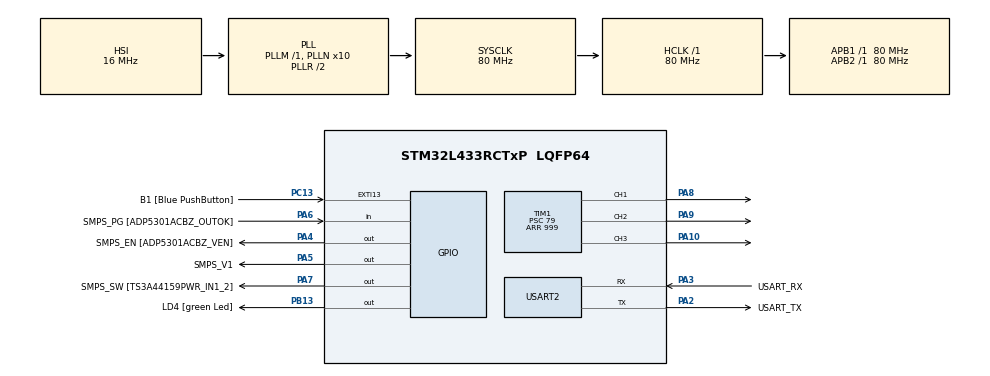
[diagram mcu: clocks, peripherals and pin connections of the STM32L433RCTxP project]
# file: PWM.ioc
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Mcu.Family=STM32L4
Mcu.Name=STM32L433RCTxP
Mcu.Package=LQFP64
NVIC.PriorityGroup=NVIC_PRIORITYGROUP_4
NVIC.TIM1_UP_TIM16_IRQn=true\:0\:0\:false\:false\:true\:true\:true\:true
PA10.Signal=S_TIM1_CH3
PA13\ (JTMS-SWDIO).GPIO_Label=TMS
PA13\ (JTMS-SWDIO).Mode=Serial_Wire
PA13\ (JTMS-SWDIO).Signal=SYS_JTMS-SWDIO
PA14\ (JTCK-SWCLK).GPIO_Label=TCK
PA14\ (JTCK-SWCLK).Mode=Serial_Wire
PA14\ (JTCK-SWCLK).Signal=SYS_JTCK-SWCLK
PA2.GPIO_Label=USART_TX
PA2.GPIO_Mode=GPIO_MODE_AF_PP
PA2.GPIO_PuPd=GPIO_NOPULL
PA2.GPIO_Speed=GPIO_SPEED_FREQ_VERY_HIGH
PA2.Mode=Asynchronous
PA2.Signal=USART2_TX
PA3.GPIO_Label=USART_RX
PA3.GPIO_Mode=GPIO_MODE_AF_PP
PA3.GPIO_PuPd=GPIO_NOPULL
PA3.GPIO_Speed=GPIO_SPEED_FREQ_VERY_HIGH
PA3.Mode=Asynchronous
PA3.Signal=USART2_RX
PA4.GPIO_Label=SMPS_EN [ADP5301ACBZ_VEN]
PA4.Signal=GPIO_Output
PA5.GPIO_Label=SMPS_V1
PA5.GPIO_ModeDefaultOutputPP=GPIO_MODE_OUTPUT_PP
PA5.GPIO_PuPd=GPIO_NOPULL
PA5.GPIO_Speed=GPIO_SPEED_FREQ_LOW
PA5.Signal=GPIO_Output
PA6.GPIO_Label=SMPS_PG [ADP5301ACBZ_OUTOK]
PA6.GPIO_PuPd=GPIO_PULLUP
PA6.Signal=GPIO_Input
PA7.GPIO_Label=SMPS_SW [TS3A44159PWR_IN1_2]
PA7.Signal=GPIO_Output
PA8.Signal=S_TIM1_CH1
PA9.Signal=S_TIM1_CH2
PB13.GPIO_Label=LD4 [green Led]
PB13.Signal=GPIO_Output
PB3\ (JTDO-TRACESWO).GPIO_Label=SWO
PB3\ (JTDO-TRACESWO).Signal=SYS_JTDO-SWO
PC13.GPIO_Label=B1 [Blue PushButton]
PC13.GPIO_ModeDefaultEXTI=GPIO_MODE_IT_FALLING
PC13.GPIO_PuPd=GPIO_NOPULL
PC13.Signal=GPXTI13
PC14-OSC32_IN\ (PC14).Mode=LSE-External-Oscillator
PC14-OSC32_IN\ (PC14).Signal=RCC_OSC32_IN
PC15-OSC32_OUT\ (PC15).Mode=LSE-External-Oscillator
PC15-OSC32_OUT\ (PC15).Signal=RCC_OSC32_OUT
PH0-OSC_IN\ (PH0).GPIO_Label=MCO
PH0-OSC_IN\ (PH0).Mode=HSE-External-Clock-Source
PH0-OSC_IN\ (PH0).Signal=RCC_OSC_IN
PH1-OSC_OUT\ (PH1).Signal=RCC_OSC_OUT
ProjectManager.HeapSize=0x200
ProjectManager.StackSize=0x400
ProjectManager.TargetToolchain=STM32CubeIDE
RCC.ADCFreq_Value=64000000
RCC.AHBFreq_Value=80000000
RCC.APB1Freq_Value=80000000
RCC.APB1TimFreq_Value=80000000
RCC.APB2Freq_Value=80000000
RCC.APB2TimFreq_Value=80000000
RCC.CortexFreq_Value=80000000
RCC.HCLKFreq_Value=80000000
RCC.HSE_VALUE=8000000
RCC.HSI48_VALUE=48000000
RCC.HSI_VALUE=16000000
RCC.MSI_VALUE=4000000
RCC.PLLN=10
RCC.PLLSourceVirtual=RCC_PLLSOURCE_HSI
RCC.PREFETCH_ENABLE=1
RCC.SYSCLKFreq_VALUE=80000000
RCC.SYSCLKSource=RCC_SYSCLKSOURCE_PLLCLK
RCC.USBFreq_Value=64000000
RCC.VCOOutputFreq_Value=160000000
SH.S_TIM1_CH1.0=TIM1_CH1,PWM Generation1 CH1
SH.S_TIM1_CH2.0=TIM1_CH2,PWM Generation2 CH2
SH.S_TIM1_CH3.0=TIM1_CH3,PWM Generation3 CH3
TIM1.Channel-PWM\ Generation1\ CH1=TIM_CHANNEL_1
TIM1.Channel-PWM\ Generation2\ CH2=TIM_CHANNEL_2
TIM1.Channel-PWM\ Generation3\ CH3=TIM_CHANNEL_3
TIM1.Period=999
TIM1.Prescaler=79
USART2.VirtualMode-Asynchronous=VM_ASYNC
VP_TIM1_VS_ClockSourceINT.Mode=Internal
board=NUCLEO-L433RC-P

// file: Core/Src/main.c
/* USER CODE BEGIN Header */
/**
 ******************************************************************************
 * @file           : main.c
 * @brief          : Main program body
 ******************************************************************************
 * @attention
 *
 * Copyright (c) 2026 STMicroelectronics.
 * All rights reserved.
 *
 * This software is licensed under terms that can be found in the LICENSE file
 * in the root directory of this software component.
 * If no LICENSE file comes with this software, it is provided AS-IS.
 *
 ******************************************************************************
 */
/* USER CODE END Header */
#include "main.h"

/* USER CODE BEGIN Includes */
#include <stdio.h>
#include <math.h>

/* USER CODE END Includes */

TIM_HandleTypeDef htim1;

UART_HandleTypeDef huart2;

/* USER CODE BEGIN PV */
volatile uint32_t isr_count = 0;
float rf;
float gf;
float bf;
float freq = 0.2f;
static float t = 0.0f;
const float offset = M_TWOPI / 3.0f;
const float half_arr = 500.0f;

/* USER CODE END PV */

void SystemClock_Config(void);
static void MX_GPIO_Init(void);
static void MX_TIM1_Init(void);
static void MX_USART2_UART_Init(void);

/* USER CODE BEGIN 0 */

void HAL_TIM_PeriodElapsedCallback(TIM_HandleTypeDef *htim) {
	if (htim->Instance == TIM1) {
		isr_count++;
	}
}

/* USER CODE END 0 */

int main(void) {

	/* MCU Configuration--------------------------------------------------------*/

	/* Reset of all peripherals, Initializes the Flash interface and the Systick. */
	HAL_Init();

	/* Configure the system clock */
	SystemClock_Config();

	/* Initialize all configured peripherals */
	MX_GPIO_Init();
	MX_TIM1_Init();
	MX_USART2_UART_Init();
	/* USER CODE BEGIN 2 */
	HAL_TIM_Base_Start_IT(&htim1);
	//grön
	HAL_TIM_PWM_Start(&htim1, TIM_CHANNEL_1); //10000000 00000000
	// blå
	HAL_TIM_PWM_Start(&htim1, TIM_CHANNEL_2);  // 11100000 00000000
	// röd
	HAL_TIM_PWM_Start(&htim1, TIM_CHANNEL_3); //11110000 00000000
	uint32_t last_isr_count = 0;

	/* USER CODE END 2 */

	/* Infinite loop */
	/* USER CODE BEGIN WHILE */
	while (1) {

		if (isr_count != last_isr_count) {
			last_isr_count = isr_count;

			rf = sinf((M_TWOPI * t * freq) + (0 * offset));
			gf = sinf((M_TWOPI * t * freq) + (1 * offset));
			bf = sinf((M_TWOPI * t * freq) + (2 * offset));

			rf = (rf + 1.0f) * half_arr;
			gf = (gf + 1.0f) * half_arr;
			bf = (bf + 1.0f) * half_arr;

			t += 0.001f;

			__HAL_TIM_SET_COMPARE(&htim1, TIM_CHANNEL_1, (uint32_t )rf);

			__HAL_TIM_SET_COMPARE(&htim1, TIM_CHANNEL_2, (uint32_t )gf);

			__HAL_TIM_SET_COMPARE(&htim1, TIM_CHANNEL_3, (uint32_t )bf);
		}
		/* USER CODE END WHILE */

	}
}

void SystemClock_Config(void) {
	RCC_OscInitTypeDef RCC_OscInitStruct = { 0 };
	RCC_ClkInitTypeDef RCC_ClkInitStruct = { 0 };

	/** Configure the main internal regulator output voltage
	 */
	if (HAL_PWREx_ControlVoltageScaling(PWR_REGULATOR_VOLTAGE_SCALE1)
			!= HAL_OK) {
		Error_Handler();
	}

	/** Initializes the RCC Oscillators according to the specified parameters
	 * in the RCC_OscInitTypeDef structure.
	 */
	RCC_OscInitStruct.OscillatorType = RCC_OSCILLATORTYPE_HSI;
	RCC_OscInitStruct.HSIState = RCC_HSI_ON;
	RCC_OscInitStruct.HSICalibrationValue = RCC_HSICALIBRATION_DEFAULT;
	RCC_OscInitStruct.PLL.PLLState = RCC_PLL_ON;
	RCC_OscInitStruct.PLL.PLLSource = RCC_PLLSOURCE_HSI;
	RCC_OscInitStruct.PLL.PLLM = 1;
	RCC_OscInitStruct.PLL.PLLN = 10;
	RCC_OscInitStruct.PLL.PLLP = RCC_PLLP_DIV7;
	RCC_OscInitStruct.PLL.PLLQ = RCC_PLLQ_DIV2;
	RCC_OscInitStruct.PLL.PLLR = RCC_PLLR_DIV2;
	if (HAL_RCC_OscConfig(&RCC_OscInitStruct) != HAL_OK) {
		Error_Handler();
	}

	/** Initializes the CPU, AHB and APB buses clocks
	 */
	RCC_ClkInitStruct.ClockType = RCC_CLOCKTYPE_HCLK | RCC_CLOCKTYPE_SYSCLK
			| RCC_CLOCKTYPE_PCLK1 | RCC_CLOCKTYPE_PCLK2;
	RCC_ClkInitStruct.SYSCLKSource = RCC_SYSCLKSOURCE_PLLCLK;
	RCC_ClkInitStruct.AHBCLKDivider = RCC_SYSCLK_DIV1;
	RCC_ClkInitStruct.APB1CLKDivider = RCC_HCLK_DIV1;
	RCC_ClkInitStruct.APB2CLKDivider = RCC_HCLK_DIV1;

	if (HAL_RCC_ClockConfig(&RCC_ClkInitStruct, FLASH_LATENCY_4) != HAL_OK) {
		Error_Handler();
	}
}

static void MX_TIM1_Init(void) {

	TIM_ClockConfigTypeDef sClockSourceConfig = { 0 };
	TIM_MasterConfigTypeDef sMasterConfig = { 0 };
	TIM_OC_InitTypeDef sConfigOC = { 0 };
	TIM_BreakDeadTimeConfigTypeDef sBreakDeadTimeConfig = { 0 };

	htim1.Instance = TIM1;
	htim1.Init.Prescaler = 79;
	htim1.Init.CounterMode = TIM_COUNTERMODE_UP;
	htim1.Init.Period = 999;
	htim1.Init.ClockDivision = TIM_CLOCKDIVISION_DIV1;
	htim1.Init.RepetitionCounter = 0;
	htim1.Init.AutoReloadPreload = TIM_AUTORELOAD_PRELOAD_DISABLE;
	if (HAL_TIM_Base_Init(&htim1) != HAL_OK) {
		Error_Handler();
	}
	sClockSourceConfig.ClockSource = TIM_CLOCKSOURCE_INTERNAL;
	if (HAL_TIM_ConfigClockSource(&htim1, &sClockSourceConfig) != HAL_OK) {
		Error_Handler();
	}
	if (HAL_TIM_PWM_Init(&htim1) != HAL_OK) {
		Error_Handler();
	}
	sMasterConfig.MasterOutputTrigger = TIM_TRGO_RESET;
	sMasterConfig.MasterOutputTrigger2 = TIM_TRGO2_RESET;
	sMasterConfig.MasterSlaveMode = TIM_MASTERSLAVEMODE_DISABLE;
	if (HAL_TIMEx_MasterConfigSynchronization(&htim1, &sMasterConfig)
			!= HAL_OK) {
		Error_Handler();
	}
	sConfigOC.OCMode = TIM_OCMODE_PWM1;
	sConfigOC.Pulse = 0;
	sConfigOC.OCPolarity = TIM_OCPOLARITY_HIGH;
	sConfigOC.OCNPolarity = TIM_OCNPOLARITY_HIGH;
	sConfigOC.OCFastMode = TIM_OCFAST_DISABLE;
	sConfigOC.OCIdleState = TIM_OCIDLESTATE_RESET;
	sConfigOC.OCNIdleState = TIM_OCNIDLESTATE_RESET;
	if (HAL_TIM_PWM_ConfigChannel(&htim1, &sConfigOC, TIM_CHANNEL_1)
			!= HAL_OK) {
		Error_Handler();
	}
	if (HAL_TIM_PWM_ConfigChannel(&htim1, &sConfigOC, TIM_CHANNEL_2)
			!= HAL_OK) {
		Error_Handler();
	}
	if (HAL_TIM_PWM_ConfigChannel(&htim1, &sConfigOC, TIM_CHANNEL_3)
			!= HAL_OK) {
		Error_Handler();
	}
	sBreakDeadTimeConfig.OffStateRunMode = TIM_OSSR_DISABLE;
	sBreakDeadTimeConfig.OffStateIDLEMode = TIM_OSSI_DISABLE;
	sBreakDeadTimeConfig.LockLevel = TIM_LOCKLEVEL_OFF;
	sBreakDeadTimeConfig.DeadTime = 0;
	sBreakDeadTimeConfig.BreakState = TIM_BREAK_DISABLE;
	sBreakDeadTimeConfig.BreakPolarity = TIM_BREAKPOLARITY_HIGH;
	sBreakDeadTimeConfig.BreakFilter = 0;
	sBreakDeadTimeConfig.Break2State = TIM_BREAK2_DISABLE;
	sBreakDeadTimeConfig.Break2Polarity = TIM_BREAK2POLARITY_HIGH;
	sBreakDeadTimeConfig.Break2Filter = 0;
	sBreakDeadTimeConfig.AutomaticOutput = TIM_AUTOMATICOUTPUT_DISABLE;
	if (HAL_TIMEx_ConfigBreakDeadTime(&htim1, &sBreakDeadTimeConfig)
			!= HAL_OK) {
		Error_Handler();
	}
	HAL_TIM_MspPostInit(&htim1);

}

static void MX_USART2_UART_Init(void) {

	huart2.Instance = USART2;
	huart2.Init.BaudRate = 115200;
	huart2.Init.WordLength = UART_WORDLENGTH_8B;
	huart2.Init.StopBits = UART_STOPBITS_1;
	huart2.Init.Parity = UART_PARITY_NONE;
	huart2.Init.Mode = UART_MODE_TX_RX;
	huart2.Init.HwFlowCtl = UART_HWCONTROL_NONE;
	huart2.Init.OverSampling = UART_OVERSAMPLING_16;
	huart2.Init.OneBitSampling = UART_ONE_BIT_SAMPLE_DISABLE;
	huart2.AdvancedInit.AdvFeatureInit = UART_ADVFEATURE_NO_INIT;
	if (HAL_UART_Init(&huart2) != HAL_OK) {
		Error_Handler();
	}

}

static void MX_GPIO_Init(void) {
	GPIO_InitTypeDef GPIO_InitStruct = { 0 };

	/* GPIO Ports Clock Enable */
	__HAL_RCC_GPIOC_CLK_ENABLE();
	__HAL_RCC_GPIOH_CLK_ENABLE();
	__HAL_RCC_GPIOA_CLK_ENABLE();
	__HAL_RCC_GPIOB_CLK_ENABLE();

	/*Configure GPIO pin Output Level */
	HAL_GPIO_WritePin(GPIOA, SMPS_EN_Pin | SMPS_V1_Pin | SMPS_SW_Pin,
			GPIO_PIN_RESET);

	/*Configure GPIO pin Output Level */
	HAL_GPIO_WritePin(LD4_GPIO_Port, LD4_Pin, GPIO_PIN_RESET);

	/*Configure GPIO pin : B1_Pin */
	GPIO_InitStruct.Pin = B1_Pin;
	GPIO_InitStruct.Mode = GPIO_MODE_IT_FALLING;
	GPIO_InitStruct.Pull = GPIO_NOPULL;
	HAL_GPIO_Init(B1_GPIO_Port, &GPIO_InitStruct);

	/*Configure GPIO pins : SMPS_EN_Pin SMPS_V1_Pin SMPS_SW_Pin */
	GPIO_InitStruct.Pin = SMPS_EN_Pin | SMPS_V1_Pin | SMPS_SW_Pin;
	GPIO_InitStruct.Mode = GPIO_MODE_OUTPUT_PP;
	GPIO_InitStruct.Pull = GPIO_NOPULL;
	GPIO_InitStruct.Speed = GPIO_SPEED_FREQ_LOW;
	HAL_GPIO_Init(GPIOA, &GPIO_InitStruct);

	/*Configure GPIO pin : SMPS_PG_Pin */
	GPIO_InitStruct.Pin = SMPS_PG_Pin;
	GPIO_InitStruct.Mode = GPIO_MODE_INPUT;
	GPIO_InitStruct.Pull = GPIO_PULLUP;
	HAL_GPIO_Init(SMPS_PG_GPIO_Port, &GPIO_InitStruct);

	/*Configure GPIO pin : LD4_Pin */
	GPIO_InitStruct.Pin = LD4_Pin;
	GPIO_InitStruct.Mode = GPIO_MODE_OUTPUT_PP;
	GPIO_InitStruct.Pull = GPIO_NOPULL;
	GPIO_InitStruct.Speed = GPIO_SPEED_FREQ_LOW;
	HAL_GPIO_Init(LD4_GPIO_Port, &GPIO_InitStruct);

}

void Error_Handler(void) {
	__disable_irq();
	while (1) {
	}
}
